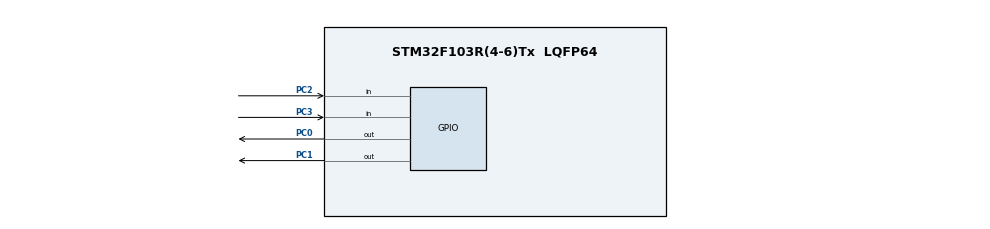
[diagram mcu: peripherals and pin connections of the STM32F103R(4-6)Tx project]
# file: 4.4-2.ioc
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Mcu.Family=STM32F1
Mcu.Name=STM32F103R(4-6)Tx
Mcu.Package=LQFP64
NVIC.PriorityGroup=NVIC_PRIORITYGROUP_4
NVIC.TIM3_IRQn=true\:0\:0\:false\:false\:true\:true\:true
PC0.PinState=GPIO_PIN_SET
PC0.Signal=GPIO_Output
PC1.PinState=GPIO_PIN_SET
PC1.Signal=GPIO_Output
PC2.Signal=GPIO_Input
PC3.Signal=GPIO_Input
ProjectManager.HeapSize=0x200
ProjectManager.StackSize=0x400
ProjectManager.TargetToolchain=STM32CubeIDE
RCC.APB1Freq_Value=8000000
RCC.APB2Freq_Value=8000000
TIM3.Period=799
TIM3.Prescaler=249
VP_SYS_VS_ND.Mode=No_Debug
VP_TIM3_VS_ClockSourceINT.Mode=Internal
board=custom

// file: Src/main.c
/* USER CODE BEGIN Header */
/**
  ******************************************************************************
  * @file           : main.c
  * @brief          : Main program body
  ******************************************************************************
  * @attention
  *
  * <h2><center>&copy; Copyright (c) 2019 STMicroelectronics.
  * All rights reserved.</center></h2>
  *
  * This software component is licensed by ST under BSD 3-Clause license,
  * the "License"; You may not use this file except in compliance with the
  * License. You may obtain a copy of the License at:
  *                        opensource.org/licenses/BSD-3-Clause
  *
  ******************************************************************************
  */
/* USER CODE END Header */

#include "main.h"

TIM_HandleTypeDef htim3;

void SystemClock_Config(void);
static void MX_GPIO_Init(void);
static void MX_TIM3_Init(void);

int main(void)
{

  /* MCU Configuration--------------------------------------------------------*/

  /* Reset of all peripherals, Initializes the Flash interface and the Systick. */
  HAL_Init();

  /* Configure the system clock */
  SystemClock_Config();

  /* Initialize all configured peripherals */
  MX_GPIO_Init();
  MX_TIM3_Init();
  /* USER CODE BEGIN 2 */
  HAL_TIM_Base_Start_IT(&htim3);
  /* USER CODE END 2 */

  /* Infinite loop */
  while (1)
  {

  }
}

void SystemClock_Config(void)
{
  RCC_OscInitTypeDef RCC_OscInitStruct = {0};
  RCC_ClkInitTypeDef RCC_ClkInitStruct = {0};

  /** Initializes the CPU, AHB and APB busses clocks
  */
  RCC_OscInitStruct.OscillatorType = RCC_OSCILLATORTYPE_HSI;
  RCC_OscInitStruct.HSIState = RCC_HSI_ON;
  RCC_OscInitStruct.HSICalibrationValue = RCC_HSICALIBRATION_DEFAULT;
  RCC_OscInitStruct.PLL.PLLState = RCC_PLL_NONE;
  if (HAL_RCC_OscConfig(&RCC_OscInitStruct) != HAL_OK)
  {
    Error_Handler();
  }
  /** Initializes the CPU, AHB and APB busses clocks
  */
  RCC_ClkInitStruct.ClockType = RCC_CLOCKTYPE_HCLK|RCC_CLOCKTYPE_SYSCLK
                              |RCC_CLOCKTYPE_PCLK1|RCC_CLOCKTYPE_PCLK2;
  RCC_ClkInitStruct.SYSCLKSource = RCC_SYSCLKSOURCE_HSI;
  RCC_ClkInitStruct.AHBCLKDivider = RCC_SYSCLK_DIV1;
  RCC_ClkInitStruct.APB1CLKDivider = RCC_HCLK_DIV1;
  RCC_ClkInitStruct.APB2CLKDivider = RCC_HCLK_DIV1;

  if (HAL_RCC_ClockConfig(&RCC_ClkInitStruct, FLASH_LATENCY_0) != HAL_OK)
  {
    Error_Handler();
  }
}

static void MX_TIM3_Init(void)
{

  TIM_ClockConfigTypeDef sClockSourceConfig = {0};
  TIM_MasterConfigTypeDef sMasterConfig = {0};

  htim3.Instance = TIM3;
  htim3.Init.Prescaler = 249;
  htim3.Init.CounterMode = TIM_COUNTERMODE_UP;
  htim3.Init.Period = 799;
  htim3.Init.ClockDivision = TIM_CLOCKDIVISION_DIV1;
  htim3.Init.AutoReloadPreload = TIM_AUTORELOAD_PRELOAD_DISABLE;
  if (HAL_TIM_Base_Init(&htim3) != HAL_OK)
  {
    Error_Handler();
  }
  sClockSourceConfig.ClockSource = TIM_CLOCKSOURCE_INTERNAL;
  if (HAL_TIM_ConfigClockSource(&htim3, &sClockSourceConfig) != HAL_OK)
  {
    Error_Handler();
  }
  sMasterConfig.MasterOutputTrigger = TIM_TRGO_RESET;
  sMasterConfig.MasterSlaveMode = TIM_MASTERSLAVEMODE_DISABLE;
  if (HAL_TIMEx_MasterConfigSynchronization(&htim3, &sMasterConfig) != HAL_OK)
  {
    Error_Handler();
  }

}

static void MX_GPIO_Init(void)
{
  GPIO_InitTypeDef GPIO_InitStruct = {0};

  /* GPIO Ports Clock Enable */
  __HAL_RCC_GPIOC_CLK_ENABLE();

  /*Configure GPIO pin Output Level */
  HAL_GPIO_WritePin(GPIOC, GPIO_PIN_0|GPIO_PIN_1, GPIO_PIN_SET);

  /*Configure GPIO pins : PC0 PC1 */
  GPIO_InitStruct.Pin = GPIO_PIN_0|GPIO_PIN_1;
  GPIO_InitStruct.Mode = GPIO_MODE_OUTPUT_PP;
  GPIO_InitStruct.Pull = GPIO_NOPULL;
  GPIO_InitStruct.Speed = GPIO_SPEED_FREQ_LOW;
  HAL_GPIO_Init(GPIOC, &GPIO_InitStruct);

  /*Configure GPIO pins : PC2 PC3 */
  GPIO_InitStruct.Pin = GPIO_PIN_2|GPIO_PIN_3;
  GPIO_InitStruct.Mode = GPIO_MODE_INPUT;
  GPIO_InitStruct.Pull = GPIO_NOPULL;
  HAL_GPIO_Init(GPIOC, &GPIO_InitStruct);

}

/* USER CODE BEGIN 4 */
void HAL_TIM_PeriodElapsedCallback (TIM_HandleTypeDef *htim)
{
	static uint16_t count1=0,count2=0;
	if(htim==&htim3)
	{
		//BTN1
		if(HAL_GPIO_ReadPin(GPIOC, GPIO_PIN_2)==GPIO_PIN_RESET)
		{
			count1++;
		}
		if(count1>=40)
		{
			HAL_GPIO_WritePin(GPIOC, GPIO_PIN_1,GPIO_PIN_RESET);
		}
		else if(count1>1 && count1<40 && HAL_GPIO_ReadPin(GPIOC, GPIO_PIN_2)==GPIO_PIN_SET)
		{
			HAL_GPIO_WritePin(GPIOC, GPIO_PIN_0,GPIO_PIN_RESET);
		}
		if(HAL_GPIO_ReadPin(GPIOC, GPIO_PIN_2)==GPIO_PIN_SET)
		{
			count1=0;
		}
		//BTN2
		if(HAL_GPIO_ReadPin(GPIOC, GPIO_PIN_3)==0)
		{
			count2++;
		}
		else if(HAL_GPIO_ReadPin(GPIOC, GPIO_PIN_3)==1)
		{
			count2=0;
		}
		if(count2>1)
		{
			HAL_GPIO_WritePin(GPIOC, GPIO_PIN_0|GPIO_PIN_1,GPIO_PIN_SET);
		}
	}
}
/* USER CODE END 4 */

void Error_Handler(void)
{
}

/************************ (C) COPYRIGHT STMicroelectronics *****END OF FILE****/
